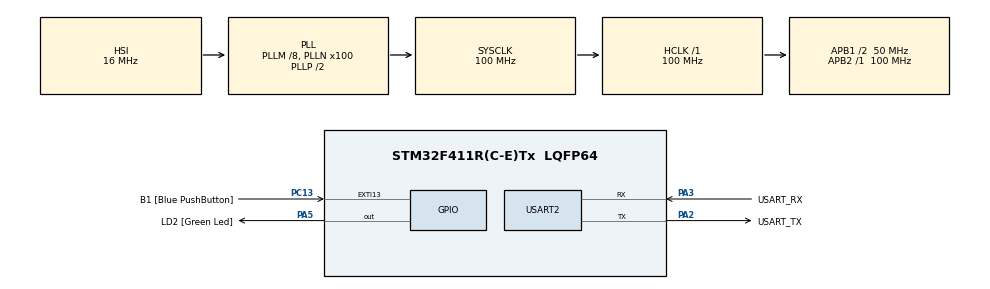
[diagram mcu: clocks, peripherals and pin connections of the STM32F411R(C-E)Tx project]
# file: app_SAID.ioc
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Mcu.Family=STM32F4
PC15-OSC32_OUT.Mode=LSE-External-Oscillator
RCC.CortexFreq_Value=100000000
PC13-ANTI_TAMP.GPIO_Label=B1 [Blue PushButton]
PA14.GPIO_Label=TCK
PH1\ -\ OSC_OUT.Mode=HSE-External-Clock-Source
RCC.APB1CLKDivider=RCC_HCLK_DIV2
PC14-OSC32_IN.Signal=RCC_OSC32_IN
RCC.SYSCLKSource=RCC_SYSCLKSOURCE_PLLCLK
ProjectManager.StackSize=0x400
PA13.Signal=SYS_JTMS-SWDIO
PA3.Mode=Asynchronous
PH0\ -\ OSC_IN.Mode=HSE-External-Clock-Source
PH0\ -\ OSC_IN.Signal=RCC_OSC_IN
ProjectManager.TargetToolchain=STM32CubeIDE
RCC.HCLKFreq_Value=100000000
RCC.APB2TimFreq_Value=100000000
PC15-OSC32_OUT.Signal=RCC_OSC32_OUT
RCC.AHBFreq_Value=100000000
PA5.Signal=GPIO_Output
RCC.HSE_VALUE=8000000
PH1\ -\ OSC_OUT.Signal=RCC_OSC_OUT
board=NUCLEO-F411RE
PC13-ANTI_TAMP.Signal=GPXTI13
RCC.VCOOutputFreq_Value=200000000
RCC.APB2Freq_Value=100000000
PC14-OSC32_IN.Mode=LSE-External-Oscillator
PA14.Mode=Serial_Wire
PA13.Mode=Serial_Wire
Mcu.Name=STM32F411R(C-E)Tx
PA2.Signal=USART2_TX
PA13.GPIO_Label=TMS
RCC.FLatency-AdvancedSettings=FLASH_LATENCY_3
RCC.48MHZClocksFreq_Value=50000000
PB3.Signal=SYS_JTDO-SWO
RCC.SYSCLKFreq_VALUE=100000000
Mcu.Package=LQFP64
PA5.GPIO_Label=LD2 [Green Led]
USART2.VirtualMode=VM_ASYNC
PC13-ANTI_TAMP.GPIO_ModeDefaultEXTI=GPIO_MODE_IT_FALLING
PA2.GPIO_Label=USART_TX
PA14.Signal=SYS_JTCK-SWCLK
ProjectManager.HeapSize=0x200
RCC.HSI_VALUE=16000000
NVIC.PriorityGroup=NVIC_PRIORITYGROUP_0
RCC.PLLM=8
RCC.PLLN=100
RCC.APB1TimFreq_Value=100000000
PA2.Mode=Asynchronous
RCC.APB1Freq_Value=50000000
PA3.GPIO_Label=USART_RX
PA3.Signal=USART2_RX
PB3.GPIO_Label=SWO

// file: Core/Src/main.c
/* USER CODE BEGIN Header */
/**
  ******************************************************************************
  * @file           : main.c
  * @brief          : Main program body
  ******************************************************************************
  * @attention
  *
  * <h2><center>&copy; Copyright (c) 2026 STMicroelectronics.
  * All rights reserved.</center></h2>
  *
  * This software component is licensed by ST under BSD 3-Clause license,
  * the "License"; You may not use this file except in compliance with the
  * License. You may obtain a copy of the License at:
  *                        opensource.org/licenses/BSD-3-Clause
  *
  ******************************************************************************
  */
/* USER CODE END Header */
#include "main.h"

/* USER CODE BEGIN Includes */
#include "app_uart.h"   // Custom UART helpers
/* USER CODE END Includes */

UART_HandleTypeDef huart2;
uint8_t Serial_CMD = 0;

void SystemClock_Config(void);
static void MX_GPIO_Init(void);
static void MX_USART2_UART_Init(void);
/* USER CODE BEGIN PFP */
void LED_Toggle(void);
void App_Task(void);
/* USER CODE END PFP */

int main(void)
{

  /* MCU Configuration--------------------------------------------------------*/

  /* Reset of all peripherals, Initializes the Flash interface and the Systick. */
  HAL_Init();

  /* Configure the system clock */
  SystemClock_Config();

  /* Initialize all configured peripherals */
  MX_GPIO_Init();
  MX_USART2_UART_Init();
  /* USER CODE BEGIN 2 */

  UART_SendString(&huart2, (uint8_t*)"App Started! Waiting for commands...\r\n");
  /* USER CODE END 2 */

  /* Infinite loop */
  /* USER CODE BEGIN WHILE */
  while (1)
  {

      /* Check UART for commands */
	  if (UART_ReceiveByte(&huart2, &Serial_CMD) == UART_OK)

      {
          switch (Serial_CMD)
          {
              case 'J': // Jump back to bootloader
            	  UART_SendString(&huart2, (uint8_t*)"Jumping to Bootloader...\r\n");
                  NVIC_SystemReset();
                  break;

              case 'H': // Example: toggle LED
                  LED_Toggle();
                  UART_SendString(&huart2, (uint8_t*)"LED toggled!\r\n");
                  break;

              default:
            	  UART_SendString(&huart2, (uint8_t*)"Unknown command!\r\n");
                  break;
          }
      }

      /* Place your application tasks here */
      App_Task();

    /* USER CODE END WHILE */

  }
}

void SystemClock_Config(void)
{
  RCC_OscInitTypeDef RCC_OscInitStruct = {0};
  RCC_ClkInitTypeDef RCC_ClkInitStruct = {0};

  /** Configure the main internal regulator output voltage
  */
  __HAL_RCC_PWR_CLK_ENABLE();
  __HAL_PWR_VOLTAGESCALING_CONFIG(PWR_REGULATOR_VOLTAGE_SCALE1);
  /** Initializes the RCC Oscillators according to the specified parameters
  * in the RCC_OscInitTypeDef structure.
  */
  RCC_OscInitStruct.OscillatorType = RCC_OSCILLATORTYPE_HSI;
  RCC_OscInitStruct.HSIState = RCC_HSI_ON;
  RCC_OscInitStruct.HSICalibrationValue = RCC_HSICALIBRATION_DEFAULT;
  RCC_OscInitStruct.PLL.PLLState = RCC_PLL_ON;
  RCC_OscInitStruct.PLL.PLLSource = RCC_PLLSOURCE_HSI;
  RCC_OscInitStruct.PLL.PLLM = 8;
  RCC_OscInitStruct.PLL.PLLN = 100;
  RCC_OscInitStruct.PLL.PLLP = RCC_PLLP_DIV2;
  RCC_OscInitStruct.PLL.PLLQ = 4;
  if (HAL_RCC_OscConfig(&RCC_OscInitStruct) != HAL_OK)
  {
    Error_Handler();
  }
  /** Initializes the CPU, AHB and APB buses clocks
  */
  RCC_ClkInitStruct.ClockType = RCC_CLOCKTYPE_HCLK|RCC_CLOCKTYPE_SYSCLK
                              |RCC_CLOCKTYPE_PCLK1|RCC_CLOCKTYPE_PCLK2;
  RCC_ClkInitStruct.SYSCLKSource = RCC_SYSCLKSOURCE_PLLCLK;
  RCC_ClkInitStruct.AHBCLKDivider = RCC_SYSCLK_DIV1;
  RCC_ClkInitStruct.APB1CLKDivider = RCC_HCLK_DIV2;
  RCC_ClkInitStruct.APB2CLKDivider = RCC_HCLK_DIV1;

  if (HAL_RCC_ClockConfig(&RCC_ClkInitStruct, FLASH_LATENCY_3) != HAL_OK)
  {
    Error_Handler();
  }
}

static void MX_USART2_UART_Init(void)
{

  huart2.Instance = USART2;
  huart2.Init.BaudRate = 115200;
  huart2.Init.WordLength = UART_WORDLENGTH_8B;
  huart2.Init.StopBits = UART_STOPBITS_1;
  huart2.Init.Parity = UART_PARITY_NONE;
  huart2.Init.Mode = UART_MODE_TX_RX;
  huart2.Init.HwFlowCtl = UART_HWCONTROL_NONE;
  huart2.Init.OverSampling = UART_OVERSAMPLING_16;
  if (HAL_UART_Init(&huart2) != HAL_OK)
  {
    Error_Handler();
  }

}

static void MX_GPIO_Init(void)
{
  GPIO_InitTypeDef GPIO_InitStruct = {0};

  /* GPIO Ports Clock Enable */
  __HAL_RCC_GPIOC_CLK_ENABLE();
  __HAL_RCC_GPIOH_CLK_ENABLE();
  __HAL_RCC_GPIOA_CLK_ENABLE();
  __HAL_RCC_GPIOB_CLK_ENABLE();

  /*Configure GPIO pin Output Level */
  HAL_GPIO_WritePin(LD2_GPIO_Port, LD2_Pin, GPIO_PIN_RESET);

  /*Configure GPIO pin : B1_Pin */
  GPIO_InitStruct.Pin = B1_Pin;
  GPIO_InitStruct.Mode = GPIO_MODE_IT_FALLING;
  GPIO_InitStruct.Pull = GPIO_NOPULL;
  HAL_GPIO_Init(B1_GPIO_Port, &GPIO_InitStruct);

  /*Configure GPIO pin : LD2_Pin */
  GPIO_InitStruct.Pin = LD2_Pin;
  GPIO_InitStruct.Mode = GPIO_MODE_OUTPUT_PP;
  GPIO_InitStruct.Pull = GPIO_NOPULL;
  GPIO_InitStruct.Speed = GPIO_SPEED_FREQ_LOW;
  HAL_GPIO_Init(LD2_GPIO_Port, &GPIO_InitStruct);

}

/* USER CODE BEGIN 4 */
void LED_Toggle(void)
{
    HAL_GPIO_TogglePin(LD2_GPIO_Port, LD2_Pin);
}

void App_Task(void)
{
    // Do your main application task here
}
/* USER CODE END 4 */

void Error_Handler(void)
{
  __disable_irq();
  while (1)
  {
  }
}

/************************ (C) COPYRIGHT STMicroelectronics *****END OF FILE****/
